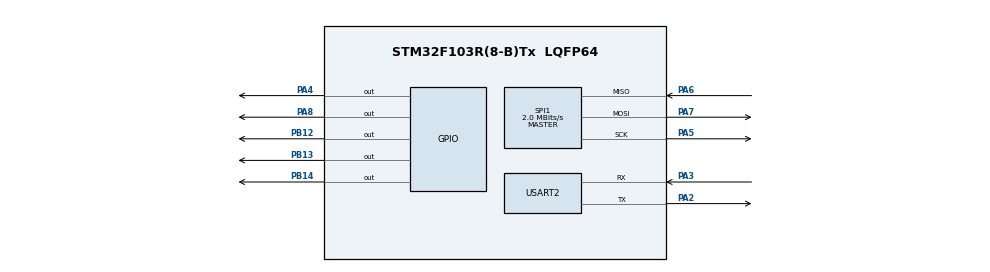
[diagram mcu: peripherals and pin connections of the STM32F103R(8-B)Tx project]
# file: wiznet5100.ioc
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Mcu.Family=STM32F1
Mcu.Name=STM32F103R(8-B)Tx
Mcu.Package=LQFP64
NVIC.PriorityGroup=NVIC_PRIORITYGROUP_4
PA13.Mode=JTAG_4_pins
PA13.Signal=SYS_JTMS-SWDIO
PA14.Mode=JTAG_4_pins
PA14.Signal=SYS_JTCK-SWCLK
PA15.Mode=JTAG_4_pins
PA15.Signal=SYS_JTDI
PA2.Mode=Asynchronous
PA2.Signal=USART2_TX
PA3.Mode=Asynchronous
PA3.Signal=USART2_RX
PA4.Signal=GPIO_Output
PA5.Mode=Full_Duplex_Master
PA5.Signal=SPI1_SCK
PA6.Mode=Full_Duplex_Master
PA6.Signal=SPI1_MISO
PA7.Mode=Full_Duplex_Master
PA7.Signal=SPI1_MOSI
PA8.Signal=GPIO_Output
PB12.Signal=GPIO_Output
PB13.Signal=GPIO_Output
PB14.Signal=GPIO_Output
PB3.Mode=JTAG_4_pins
PB3.Signal=SYS_JTDO-TRACESWO
ProjectManager.HeapSize=0x200
ProjectManager.StackSize=0x400
ProjectManager.TargetToolchain=SW4STM32
RCC.APB1Freq_Value=8000000
RCC.APB2Freq_Value=8000000
SPI1.BaudRatePrescaler=SPI_BAUDRATEPRESCALER_4
SPI1.CalculateBaudRate=2.0 MBits/s
SPI1.Direction=SPI_DIRECTION_2LINES
SPI1.Mode=SPI_MODE_MASTER
SPI1.VirtualType=VM_MASTER
USART2.VirtualMode=VM_ASYNC
board=wiznet5100

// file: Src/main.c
/**
  ******************************************************************************
  * @file           : main.c
  * @brief          : Main program body
  ******************************************************************************
  ** This notice applies to any and all portions of this file
  * that are not between comment pairs USER CODE BEGIN and
  * USER CODE END. Other portions of this file, whether
  * inserted by the user or by software development tools
  * are owned by their respective copyright owners.
  *
  * COPYRIGHT(c) 2018 STMicroelectronics
  *
  * Redistribution and use in source and binary forms, with or without modification,
  * are permitted provided that the following conditions are met:
  *   1. Redistributions of source code must retain the above copyright notice,
  *      this list of conditions and the following disclaimer.
  *   2. Redistributions in binary form must reproduce the above copyright notice,
  *      this list of conditions and the following disclaimer in the documentation
  *      and/or other materials provided with the distribution.
  *   3. Neither the name of STMicroelectronics nor the names of its contributors
  *      may be used to endorse or promote products derived from this software
  *      without specific prior written permission.
  *
  * THIS SOFTWARE IS PROVIDED BY THE COPYRIGHT HOLDERS AND CONTRIBUTORS "AS IS"
  * AND ANY EXPRESS OR IMPLIED WARRANTIES, INCLUDING, BUT NOT LIMITED TO, THE
  * IMPLIED WARRANTIES OF MERCHANTABILITY AND FITNESS FOR A PARTICULAR PURPOSE ARE
  * DISCLAIMED. IN NO EVENT SHALL THE COPYRIGHT HOLDER OR CONTRIBUTORS BE LIABLE
  * FOR ANY DIRECT, INDIRECT, INCIDENTAL, SPECIAL, EXEMPLARY, OR CONSEQUENTIAL
  * DAMAGES (INCLUDING, BUT NOT LIMITED TO, PROCUREMENT OF SUBSTITUTE GOODS OR
  * SERVICES; LOSS OF USE, DATA, OR PROFITS; OR BUSINESS INTERRUPTION) HOWEVER
  * CAUSED AND ON ANY THEORY OF LIABILITY, WHETHER IN CONTRACT, STRICT LIABILITY,
  * OR TORT (INCLUDING NEGLIGENCE OR OTHERWISE) ARISING IN ANY WAY OUT OF THE USE
  * OF THIS SOFTWARE, EVEN IF ADVISED OF THE POSSIBILITY OF SUCH DAMAGE.
  *
  ******************************************************************************
  */
#include "main.h"
#include "stm32f1xx_hal.h"
#include "spi.h"
#include "usart.h"
#include "gpio.h"

/* USER CODE BEGIN Includes */
#include "socket.h"
#include "wiznet_ll.h"
#include "wizchip_conf.h"
#include "string.h"
#include "dweet.h"
#include "mqtt_interface.h"
#include "MQTTClient.h"
#include <stdbool.h>

/* USER CODE END Includes */

/* USER CODE BEGIN PV */

/* Private variables ---------------------------------------------------------*/

/* USER CODE END PV */

void SystemClock_Config(void);

/* USER CODE BEGIN PFP */
/* Private function prototypes -----------------------------------------------*/
void messageArrived(MessageData* md);
/* USER CODE END PFP */

/* USER CODE BEGIN 0 */

void messageArrived(MessageData* md) {
	MQTTMessage* message = md->message;
	unsigned char testbuffer[100];
	memset(testbuffer, 0, 100);

	memcpy(testbuffer,(char*)message->payload,(int)message->payloadlen);
	//*(testbuffer + (int)message->payloadlen + 1) = "\n";
	printf("%s\r\n",testbuffer);
	if(testbuffer[0] == '1'){
		HAL_GPIO_WritePin(GPIOB, GPIO_PIN_12, GPIO_PIN_SET); //CS HIGH
	}
	else if ( testbuffer[0] == '0'){
		HAL_GPIO_WritePin(GPIOB, GPIO_PIN_12, GPIO_PIN_RESET); //CS RESET
	}

}

/* USER CODE END 0 */

int main(void)
{
  /* USER CODE BEGIN 1 */
  uint8_t bufSize[] = {2, 2, 2, 2};
  uint8_t retVal = 0;
  /* USER CODE END 1 */

  /* MCU Configuration----------------------------------------------------------*/

  /* Reset of all peripherals, Initializes the Flash interface and the Systick. */
  HAL_Init();

  /* Configure the system clock */
  SystemClock_Config();

  /* Initialize all configured peripherals */
  MX_GPIO_Init();
  MX_SPI1_Init();
  MX_USART2_UART_Init();

  /* Infinite loop */
  /* USER CODE BEGIN WHILE */
  reg_wizchip_cs_cbfunc(cs_sel, cs_desel);
  reg_wizchip_spi_cbfunc(spi_rb, spi_wb);
  wizchip_init(bufSize, bufSize);
  wiz_NetInfo netInfo = { .mac 	= {0x00, 0xAA, 0xBB, 0xCC, 0xDE, 0x02},	// Mac address
                          .ip 	= {172, 31, 141, 159},					// IP address
                          .sn 	= {255, 255, 255, 0},					// Subnet mask
                          .gw 	= {172, 31, 141, 1}};					// Gateway address
  wizchip_setnetinfo(&netInfo);
  memset(&netInfo, 0, sizeof(netInfo));
  wizchip_getnetinfo(&netInfo);

  MQTTClient c;
  Network n;
  unsigned char buf[100];
  unsigned char readbuf[100];
  char MessageToSend[100];
  sprintf(MessageToSend, "Hello World!  QoS 0 message from UatuBoard");
  char *clientid = "UatuBoard";
  NewNetwork(&n,1);
  ConnectNetwork(&n,"broker.hivemq.com",1883);
  MQTTClientInit(&c, &n, 1000, buf, 100, readbuf, 100);
  // Packet ot send for broker
  MQTTMessage MessageToBroker;
  MessageToBroker.qos = QOS0;
  MessageToBroker.retained = false;  // set to true for retained
  MessageToBroker.dup = false;
  MessageToBroker.payload = (void*)MessageToSend;
  MessageToBroker.payloadlen = strlen(MessageToSend);

  MQTTPacket_connectData data = MQTTPacket_connectData_initializer;
  data.willFlag = 0;
  data.MQTTVersion = 3;
  data.clientID.cstring = clientid;
  data.keepAliveInterval = 10;
  data.cleansession = 1;
  retVal = MQTTConnect(&c, &data);
  retVal = MQTTSubscribe(&c, "boardLED2", QOS0, messageArrived);

  while (1)
  {

  /* USER CODE END WHILE */

  /* USER CODE BEGIN 3 */
	  MQTTYield(&c, 1000);
	  MQTTPublish(&c,"boardLED",&MessageToBroker);
	  HAL_Delay(300);
  }
  /* USER CODE END 3 */

}

void SystemClock_Config(void)
{

  RCC_OscInitTypeDef RCC_OscInitStruct;
  RCC_ClkInitTypeDef RCC_ClkInitStruct;

    /**Initializes the CPU, AHB and APB busses clocks
    */
  RCC_OscInitStruct.OscillatorType = RCC_OSCILLATORTYPE_HSI;
  RCC_OscInitStruct.HSIState = RCC_HSI_ON;
  RCC_OscInitStruct.HSICalibrationValue = 16;
  RCC_OscInitStruct.PLL.PLLState = RCC_PLL_NONE;
  if (HAL_RCC_OscConfig(&RCC_OscInitStruct) != HAL_OK)
  {
    _Error_Handler(__FILE__, __LINE__);
  }

    /**Initializes the CPU, AHB and APB busses clocks
    */
  RCC_ClkInitStruct.ClockType = RCC_CLOCKTYPE_HCLK|RCC_CLOCKTYPE_SYSCLK
                              |RCC_CLOCKTYPE_PCLK1|RCC_CLOCKTYPE_PCLK2;
  RCC_ClkInitStruct.SYSCLKSource = RCC_SYSCLKSOURCE_HSI;
  RCC_ClkInitStruct.AHBCLKDivider = RCC_SYSCLK_DIV1;
  RCC_ClkInitStruct.APB1CLKDivider = RCC_HCLK_DIV1;
  RCC_ClkInitStruct.APB2CLKDivider = RCC_HCLK_DIV1;

  if (HAL_RCC_ClockConfig(&RCC_ClkInitStruct, FLASH_LATENCY_0) != HAL_OK)
  {
    _Error_Handler(__FILE__, __LINE__);
  }

    /**Configure the Systick interrupt time
    */
  HAL_SYSTICK_Config(HAL_RCC_GetHCLKFreq()/1000);

    /**Configure the Systick
    */
  HAL_SYSTICK_CLKSourceConfig(SYSTICK_CLKSOURCE_HCLK);

  /* SysTick_IRQn interrupt configuration */
  HAL_NVIC_SetPriority(SysTick_IRQn, 0, 0);
}

void _Error_Handler(char *file, int line)
{
  while(1)
  {
  }
}

/************************ (C) COPYRIGHT STMicroelectronics *****END OF FILE****/
